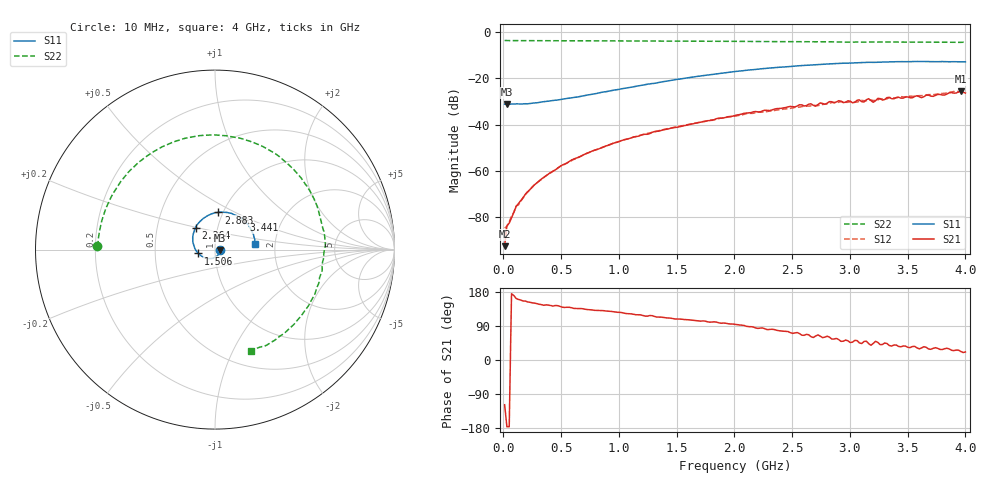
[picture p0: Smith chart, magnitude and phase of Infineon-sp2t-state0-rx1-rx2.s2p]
! 5/10/2016 1:45:15 PM
! C:\ANRITSUVNA\DATA\INFINEON-SP2T-STATE0-RX1-RX2.S2P
! CHANNEL.1
! TR.MEASUREMENT
! CORRECTED.DATA
# GHZ S RI R 50.0
! FREQ.GHZ  S11RE  S11IM  S21RE  S21IM  S12RE  S12IM  S22RE  S22IM
!; PortSelection: Port_12
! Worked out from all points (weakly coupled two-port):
!   201 points, 10 MHz to 4 GHz, reference 50 ohm
!   highest |S21| = -25.63 dB at 3.96 GHz (marker M1); lowest = -92.4 dB at 10 MHz (marker M2)
!   lowest |S11| = -31.2 dB at 29.95 MHz (marker M3), VSWR 1.06, Z = 52.8 - j0.232 ohm
!   |S11| at or under -10 dB: start of sweep to end of sweep
!   |S22| runs from -4.5 to -3.6 dB; largest |S21 - S12| = 0.0051
!   S11 on the Smith chart (normalised r, x): 10 MHz: 1.06, -0.00; 1.506 GHz: 0.83, -0.04; 2.264 GHz: 0.78, +0.20; 2.883 GHz: 0.95, +0.41; 3.441 GHz: 1.30, +0.45; 4 GHz: 1.57, +0.11
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0.01  0.0277 -0.00172  -1.13e-05 -2.12e-05  -5.03e-05 -3.06e-05  -0.6568 0.0188
0.02995  0.0275 -0.0022  -6.61e-05 -4.4e-06  -6.38e-05 -7.2e-06  -0.6528 0.0239
0.06985  0.0275 -0.00462  -9.78e-05 9e-06  -0.000106 7.8e-06  -0.6504 0.0545
0.10975  0.0273 -0.00676  -0.000164 5.2e-05  -0.000167 5.93e-05  -0.6469 0.0837
0.26935  0.0242 -0.0171  -0.000439 0.000253  -0.000437 0.000264  -0.6182 0.1995
0.4888  0.0158 -0.031  -0.000988 0.000782  -0.000962 0.00079  -0.5466 0.3459
0.6883  0.00219 -0.0418  -0.00159 0.00157  -0.00156 0.00155  -0.4568 0.4559
1.0474  -0.0346 -0.0502  -0.00263 0.00399  -0.00266 0.00394  -0.2426 0.5953
1.34665  -0.0727 -0.0371  -0.00288 0.0067  -0.00296 0.00681  -0.0384 0.6381
1.50625  -0.0926 -0.0217  -0.00278 0.0084  -0.0028 0.00867  0.0712 0.6333
2.005  -0.1243 0.0656  -0.00119 0.0158  -0.000385 0.0153  0.3806 0.5
2.26435  -0.1084 0.1225  0.00282 0.0204  0.00289 0.0188  0.4971 0.3742
2.6833  -0.0336 0.1929  0.0133 0.0226  0.0108 0.0237  0.5992 0.1247
2.8828  0.0186 0.2073  0.0169 0.0259  0.0158 0.0253  0.6078 -0.0101
3.1222  0.0828 0.2038  0.0204 0.0232  0.0216 0.0249  0.5824 -0.1572
3.1621  0.0928 0.2017  0.0265 0.0249  0.0221 0.0255  0.5801 -0.1794
3.202  0.1017 0.1966  0.022 0.0211  0.0231 0.0241  0.5721 -0.2016
3.2419  0.1132 0.1922  0.0254 0.0267  0.0227 0.026  0.5618 -0.2319
3.34165  0.1386 0.1797  0.0306 0.0239  0.0271 0.0271  0.5315 -0.2927
3.4414  0.1606 0.1637  0.0308 0.0214  0.0309 0.0259  0.4968 -0.3455
3.9601  0.2226 0.0423  0.0483 0.0201  0.0482 0.0216  0.2206 -0.5573
4  0.2246 0.0328  0.0451 0.0174  0.0494 0.0194  0.2024 -0.5674
